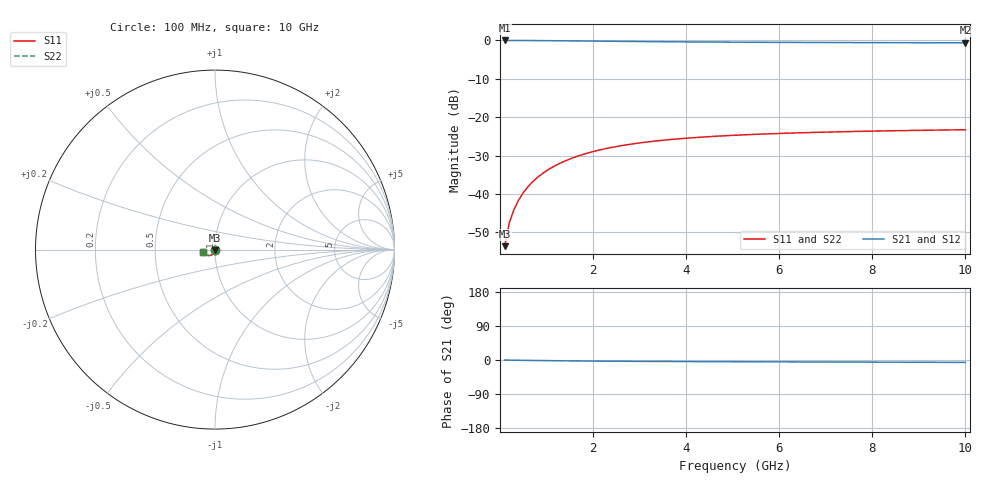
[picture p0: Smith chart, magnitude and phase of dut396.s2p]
! Touchstone file exported from HFSS 2024.1.0
!  File:  C:/UserFiles/LocalFiles/RDL_TSV_Batchsim/temp_TSV1_396_1779624360.aedt
!  Generated:  08:12:41 PM May 24, 2026
!  Design:  TSV1
!  Project:  temp_TSV1_396_1779624360
!  Setup:  Setup1
!  Solution:  Sweep
! Variables:
!  dtsv = 13.56um
!  hbump = 3um
!  htsv = 99.39um
!  lrdl = 252.1521522um
!  p = 40
!  p1 = 54.27um
!  t = 500um
!  trdl = 3um
!  wrdl = 24.89489489um
# GHz S MA R 50.000000
! Terminal data exported
! Port[1] = TSV22_T1
! Port[2] = TSV22_T2
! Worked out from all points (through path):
!   100 points, 100 MHz to 10 GHz, reference 50 ohm
!   highest |S21| = 0.00 dB at 100 MHz (marker M1); lowest = -0.6 dB at 10 GHz (marker M2)
!   lowest |S11| = -53.6 dB at 100 MHz (marker M3), VSWR 1.00, Z = 50 - j0.208 ohm
!   |S11| at or under -10 dB: start of sweep to end of sweep
!   |S22| runs from -53.6 to -23.3 dB; largest |S21 - S12| = 3.1e-15
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0.1  0.002079 -89.2  0.9998 -0.2  0.9998 -0.2  0.002079 -89.2
! Gamma 0 0 0 0
! Port Impedance 50 0 50 0
0.2  0.004156 -92.2  0.9996 -0.4  0.9996 -0.4  0.004156 -92.2
0.3  0.006228 -94.4  0.9993 -0.5  0.9993 -0.5  0.006228 -94.4
0.4  0.008288 -96.5  0.9988 -0.7  0.9988 -0.7  0.008288 -96.5
0.5  0.01033 -98.4  0.9982 -0.9  0.9982 -0.9  0.01033 -98.4
0.6  0.01234 -100.4  0.9975 -1.0  0.9975 -1.0  0.01234 -100.4
0.7  0.01431 -102.2  0.9967 -1.2  0.9967 -1.2  0.01431 -102.2
0.8  0.01625 -104.1  0.9958 -1.4  0.9958 -1.4  0.01625 -104.1
0.9  0.01815 -105.9  0.9948 -1.5  0.9948 -1.5  0.01815 -105.9
1.1  0.02179 -109.3  0.9926 -1.8  0.9926 -1.8  0.02179 -109.3
1.4  0.02687 -114.2  0.9889 -2.2  0.9889 -2.2  0.02687 -114.2
1.6  0.02998 -117.3  0.9863 -2.4  0.9863 -2.4  0.02998 -117.3
1.8  0.03288 -120.2  0.9836 -2.6  0.9836 -2.6  0.03288 -120.2
2.1  0.03681 -124.3  0.9795 -2.9  0.9795 -2.9  0.03681 -124.3
2.5  0.04137 -129.3  0.9742 -3.3  0.9742 -3.3  0.04137 -129.3
2.9  0.04523 -133.7  0.9692 -3.5  0.9692 -3.5  0.04523 -133.7
3.4  0.04923 -138.5  0.9637 -3.8  0.9637 -3.8  0.04923 -138.5
4.2  0.05419 -145.0  0.9562 -4.2  0.9562 -4.2  0.05419 -145.0
5.1  0.05827 -150.9  0.9496 -4.6  0.9496 -4.6  0.05827 -150.9
6.7  0.06314 -159.1  0.9413 -5.1  0.9413 -5.1  0.06314 -159.1
8.4  0.06642 -165.8  0.9355 -5.7  0.9355 -5.7  0.06642 -165.8
10  0.06853 -170.9  0.9318 -6.3  0.9318 -6.3  0.06853 -170.9
